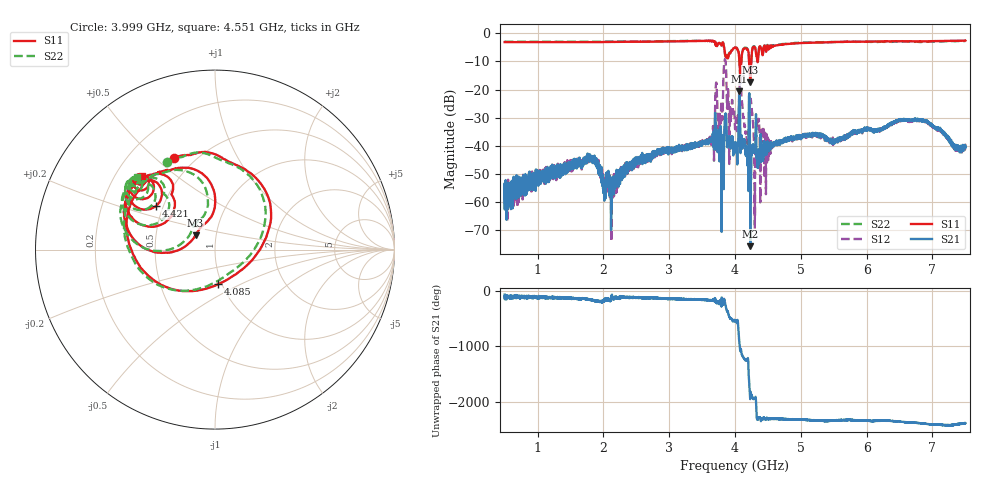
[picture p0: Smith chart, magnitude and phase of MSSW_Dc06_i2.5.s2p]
!Keysight Technologies,M9374A,MY55442783,A.12.55.05
!Date: Thursday, May 20, 2021 13:08:13
!Correction: S11(Full 2 Port(1,2))
!S21(Full 2 Port(1,2))
!S12(Full 2 Port(1,2))
!S22(Full 2 Port(1,2))
!S2P File: Measurements: S11, S21, S12, S22:
# Hz S  RI  R 50
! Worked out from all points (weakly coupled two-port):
!   7001 points, 500 MHz to 7.5 GHz, reference 50 ohm
!   highest |S21| = -20.58 dB at 4.066 GHz (marker M1); lowest = -75.6 dB at 4.232 GHz (marker M2)
!   lowest |S11| = -17.4 dB at 4.233 GHz (marker M3), VSWR 1.31, Z = 39.8 + j6.42 ohm
!   |S11| at or under -10 dB: 4.067 GHz to 4.095 GHz (27.43 MHz wide, 0.672 % of centre); 4.215 GHz to 4.247 GHz (32.05 MHz wide, 0.758 % of centre); 4.340059 GHz to 4.346631 GHz (6.572 MHz wide, 0.151 % of centre)
!   |S22| runs from -16.3 to -2.6 dB; largest |S21 - S12| = 0.31
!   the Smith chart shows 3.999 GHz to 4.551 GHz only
!   S11 on the Smith chart (normalised r, x): 3.999 GHz: 0.39, +0.58; 4.085 GHz: 0.96, -0.39; 4.421 GHz: 0.46, +0.27; 4.551 GHz: 0.31, +0.38
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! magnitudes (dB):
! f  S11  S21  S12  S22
! 500 MHz  -3.2  -55.2  -59.6  -3.0
! 1.667 GHz  -3.2  -47.2  -47.8  -3.0
! 2.13 GHz  -3.1  -53.0  -57.1  -3.0
! 2.834 GHz  -3.0  -41.2  -41.8  -2.8
! 3.658 GHz  -2.7  -37.5  -36.7  -2.7
! 3.7 GHz  -3.7  -31.4  -23.6  -3.9
! 3.775 GHz  -3.7  -36.0  -33.2  -3.7
! 3.85 GHz  -7.7  -29.4  -9.3  -7.7
! 3.908 GHz  -7.3  -37.9  -33.0  -7.2
! 3.999 GHz  -5.1  -39.1  -33.4  -5.1
! 4 GHz  -5.0  -39.4  -33.6  -5.1
! 4.066 GHz  -9.3  -20.6  -20.6  -9.5
! 4.085 GHz  -14.3  -42.0  -15.8  -15.2
! 4.171 GHz  -5.4  -40.7  -35.6  -5.2
! 4.232 GHz  -17.3  -75.6  -23.9  -15.3
! 4.233 GHz  -17.4  -61.6  -23.5  -15.5
! 4.295 GHz  -4.9  -40.8  -46.7  -4.7
! 4.421 GHz  -7.8  -45.2  -40.0  -7.3
! 4.551 GHz  -4.8  -39.8  -39.9  -4.5
! 5.167 GHz  -3.4  -35.9  -36.2  -3.2
! 6.334 GHz  -2.9  -32.6  -32.6  -3.0
! 7.5 GHz  -2.6  -40.6  -39.9  -2.8
